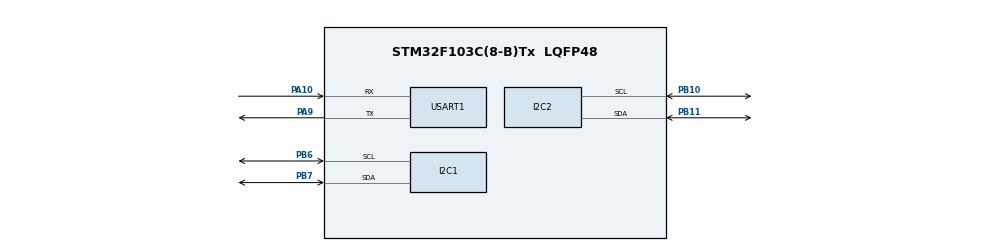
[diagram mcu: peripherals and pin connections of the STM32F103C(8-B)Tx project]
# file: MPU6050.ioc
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Mcu.Family=STM32F1
Mcu.Name=STM32F103C(8-B)Tx
Mcu.Package=LQFP48
NVIC.PriorityGroup=NVIC_PRIORITYGROUP_4
PA10.Mode=Asynchronous
PA10.Signal=USART1_RX
PA9.Mode=Asynchronous
PA9.Signal=USART1_TX
PB10.Mode=I2C
PB10.Signal=I2C2_SCL
PB11.Mode=I2C
PB11.Signal=I2C2_SDA
PB6.Mode=I2C
PB6.Signal=I2C1_SCL
PB7.Mode=I2C
PB7.Signal=I2C1_SDA
ProjectManager.HeapSize=0x200
ProjectManager.StackSize=0x400
ProjectManager.TargetToolchain=STM32CubeIDE
RCC.APB1Freq_Value=8000000
RCC.APB2Freq_Value=8000000
USART1.VirtualMode=VM_ASYNC
VP_SYS_VS_ND.Mode=No_Debug
board=custom

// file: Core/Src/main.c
/* USER CODE BEGIN Header */
/**
  ******************************************************************************
  * @file           : main.c
  * @brief          : Main program body
  ******************************************************************************
  * @attention
  *
  * Copyright (c) 2026 STMicroelectronics.
  * All rights reserved.
  *
  * This software is licensed under terms that can be found in the LICENSE file
  * in the root directory of this software component.
  * If no LICENSE file comes with this software, it is provided AS-IS.
  *
  ******************************************************************************
  */
/* USER CODE END Header */
#include "main.h"

/* USER CODE BEGIN Includes */
#include "stdio.h"
/* USER CODE END Includes */

I2C_HandleTypeDef hi2c1;
I2C_HandleTypeDef hi2c2;

UART_HandleTypeDef huart1;

/* USER CODE BEGIN PV */
#include "mpu.h"
/* USER CODE END PV */

void SystemClock_Config(void);
static void MX_GPIO_Init(void);
static void MX_I2C1_Init(void);
static void MX_USART1_UART_Init(void);
static void MX_I2C2_Init(void);

int main(void)
{

  /* MCU Configuration--------------------------------------------------------*/

  /* Reset of all peripherals, Initializes the Flash interface and the Systick. */
  HAL_Init();

  /* Configure the system clock */
  SystemClock_Config();

  /* Initialize all configured peripherals */
  MX_GPIO_Init();
  MX_I2C1_Init();
  MX_USART1_UART_Init();
  MX_I2C2_Init();
  /* USER CODE BEGIN 2 */
  uint8_t str[16] = "start";
  HAL_UART_Transmit(&huart1, str, 10, 1000);
  hmpu m1 = {
		  .hi2cx = &hi2c2,
  };

  MPU_init(&m1);
  HAL_UART_Transmit(&huart1, (uint8_t *)"\n", 1, 100);

  /* USER CODE END 2 */

  /* Infinite loop */
  while (1)
  {

    /* USER CODE BEGIN 3 */
	  MPU_read(&m1);
	  uint8_t str[300];
	  sprintf(str, "ax:%d, ay:%d, az:%d, gx:%d, gy:%d, gz:%d\t", m1.ax, m1.ay, m1.az, m1.gx, m1.gy, m1.gz);
	  HAL_UART_Transmit(&huart1, str, 50, 100);
	  sprintf(str, "pitch: %d, roll:%d \n", m1.pitch, m1.roll);
	  HAL_UART_Transmit(&huart1, str, 50, 100);
	  HAL_Delay(100);
  }
  /* USER CODE END 3 */
}

void SystemClock_Config(void)
{
  RCC_OscInitTypeDef RCC_OscInitStruct = {0};
  RCC_ClkInitTypeDef RCC_ClkInitStruct = {0};

  /** Initializes the RCC Oscillators according to the specified parameters
  * in the RCC_OscInitTypeDef structure.
  */
  RCC_OscInitStruct.OscillatorType = RCC_OSCILLATORTYPE_HSI;
  RCC_OscInitStruct.HSIState = RCC_HSI_ON;
  RCC_OscInitStruct.HSICalibrationValue = RCC_HSICALIBRATION_DEFAULT;
  RCC_OscInitStruct.PLL.PLLState = RCC_PLL_NONE;
  if (HAL_RCC_OscConfig(&RCC_OscInitStruct) != HAL_OK)
  {
    Error_Handler();
  }

  /** Initializes the CPU, AHB and APB buses clocks
  */
  RCC_ClkInitStruct.ClockType = RCC_CLOCKTYPE_HCLK|RCC_CLOCKTYPE_SYSCLK
                              |RCC_CLOCKTYPE_PCLK1|RCC_CLOCKTYPE_PCLK2;
  RCC_ClkInitStruct.SYSCLKSource = RCC_SYSCLKSOURCE_HSI;
  RCC_ClkInitStruct.AHBCLKDivider = RCC_SYSCLK_DIV1;
  RCC_ClkInitStruct.APB1CLKDivider = RCC_HCLK_DIV1;
  RCC_ClkInitStruct.APB2CLKDivider = RCC_HCLK_DIV1;

  if (HAL_RCC_ClockConfig(&RCC_ClkInitStruct, FLASH_LATENCY_0) != HAL_OK)
  {
    Error_Handler();
  }
}

static void MX_I2C1_Init(void)
{

  hi2c1.Instance = I2C1;
  hi2c1.Init.ClockSpeed = 100000;
  hi2c1.Init.DutyCycle = I2C_DUTYCYCLE_2;
  hi2c1.Init.OwnAddress1 = 0;
  hi2c1.Init.AddressingMode = I2C_ADDRESSINGMODE_7BIT;
  hi2c1.Init.DualAddressMode = I2C_DUALADDRESS_DISABLE;
  hi2c1.Init.OwnAddress2 = 0;
  hi2c1.Init.GeneralCallMode = I2C_GENERALCALL_DISABLE;
  hi2c1.Init.NoStretchMode = I2C_NOSTRETCH_DISABLE;
  if (HAL_I2C_Init(&hi2c1) != HAL_OK)
  {
    Error_Handler();
  }

}

static void MX_I2C2_Init(void)
{

  hi2c2.Instance = I2C2;
  hi2c2.Init.ClockSpeed = 100000;
  hi2c2.Init.DutyCycle = I2C_DUTYCYCLE_2;
  hi2c2.Init.OwnAddress1 = 0;
  hi2c2.Init.AddressingMode = I2C_ADDRESSINGMODE_7BIT;
  hi2c2.Init.DualAddressMode = I2C_DUALADDRESS_DISABLE;
  hi2c2.Init.OwnAddress2 = 0;
  hi2c2.Init.GeneralCallMode = I2C_GENERALCALL_DISABLE;
  hi2c2.Init.NoStretchMode = I2C_NOSTRETCH_DISABLE;
  if (HAL_I2C_Init(&hi2c2) != HAL_OK)
  {
    Error_Handler();
  }

}

static void MX_USART1_UART_Init(void)
{

  huart1.Instance = USART1;
  huart1.Init.BaudRate = 115200;
  huart1.Init.WordLength = UART_WORDLENGTH_8B;
  huart1.Init.StopBits = UART_STOPBITS_1;
  huart1.Init.Parity = UART_PARITY_NONE;
  huart1.Init.Mode = UART_MODE_TX_RX;
  huart1.Init.HwFlowCtl = UART_HWCONTROL_NONE;
  huart1.Init.OverSampling = UART_OVERSAMPLING_16;
  if (HAL_UART_Init(&huart1) != HAL_OK)
  {
    Error_Handler();
  }

}

static void MX_GPIO_Init(void)
{

  /* GPIO Ports Clock Enable */
  __HAL_RCC_GPIOB_CLK_ENABLE();
  __HAL_RCC_GPIOA_CLK_ENABLE();

}

void Error_Handler(void)
{
  __disable_irq();
  while (1)
  {
  }
}
